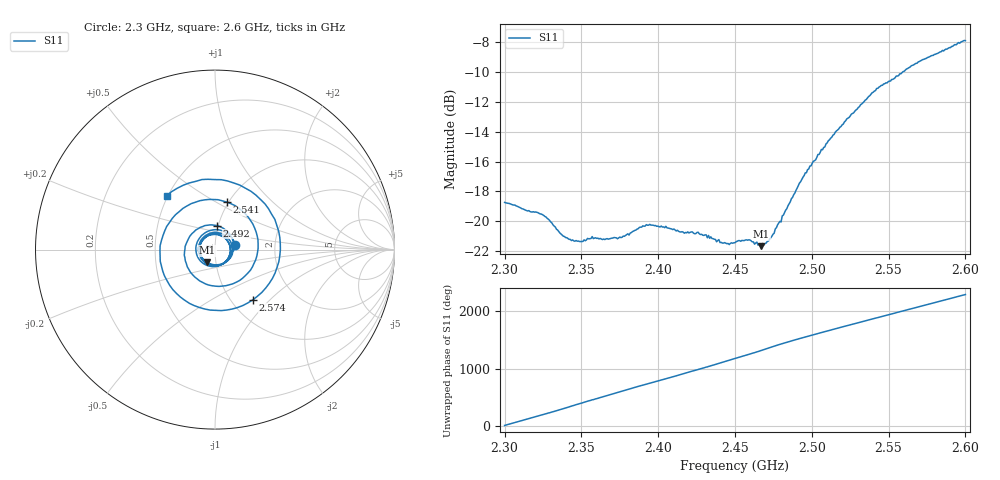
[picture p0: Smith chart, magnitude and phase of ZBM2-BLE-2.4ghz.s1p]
! NanoVNA-App
! Date: 2026-05-22 19:34:26
! Start: 2.3GHz Stop: 2.6GHz Points: 401
! S-Parameter data: F S11
# Hz S RI R 50
!  Frequency  S11_Real  S11_Imag
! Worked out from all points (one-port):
!   401 points, 2.3 GHz to 2.6 GHz, reference 50 ohm
!   lowest |S11| = -21.7 dB at 2.467 GHz (marker M1), VSWR 1.18, Z = 45.5 - j6.46 ohm
!   |S11| at or under -10 dB: start of sweep to 2.559 GHz
!   S11 on the Smith chart (normalised r, x): 2.3 GHz: 1.25, +0.06; 2.492 GHz: 0.99, +0.27; 2.541 GHz: 0.98, +0.56; 2.574 GHz: 1.25, -0.80; 2.6 GHz: 0.49, +0.35
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2.3e9  0.1128 0.0255
2.3105e9  -0.00565 0.1106
2.321e9  -0.1065 0.0114
2.3375e9  0.0438 -0.0784
2.35625e9  -0.00258 0.0875
2.375e9  -0.0454 -0.0759
2.3915e9  0.0959 0.00881
2.402e9  0.0105 0.0958
2.4125e9  -0.0895 0.0263
2.42675e9  0.00444 -0.0906
2.438e9  0.0853 -8.01e-05
2.45e9  -0.0132 0.0837
2.46725e9  -0.0427 -0.0705
2.4875e9  0.076 0.0932
2.492e9  0.0124 0.1337
2.50775e9  -0.1653 -0.0624
2.51675e9  -0.0162 -0.2014
2.525e9  0.1838 -0.1301
2.5325e9  0.2351 0.0763
2.54075e9  0.0668 0.2647
2.54675e9  -0.1321 0.2563
2.5535e9  -0.2902 0.0772
2.5625e9  -0.2142 -0.2446
2.57375e9  0.2117 -0.279
2.57975e9  0.3555 -0.0679
2.585e9  0.3336 0.1682
2.5925e9  0.0689 0.3827
2.6e9  -0.2687 0.3002
